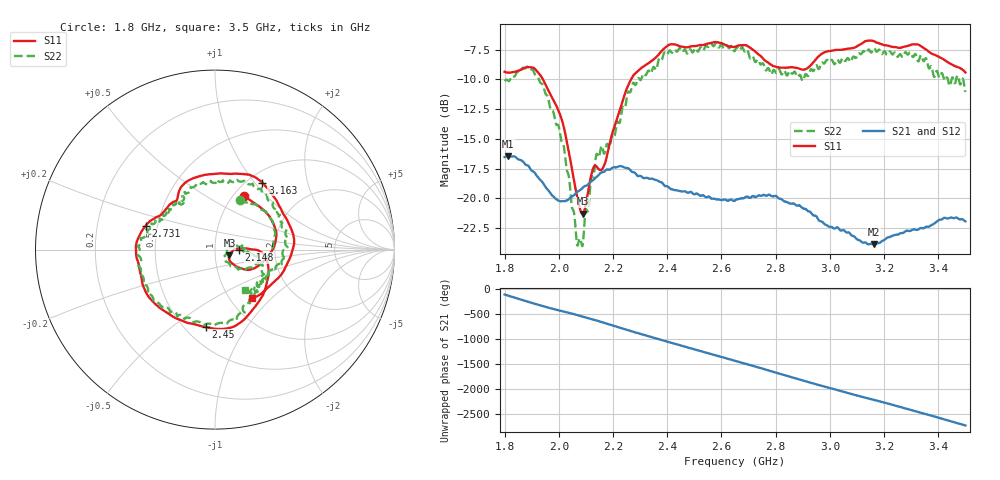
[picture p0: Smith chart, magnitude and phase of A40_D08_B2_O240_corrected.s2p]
! Created with skrf 1.9.0 (http://scikit-rf.org).
# Hz S RI R 50.0
!freq ReS11 ImS11 ReS21 ImS21 ReS12 ImS12 ReS22 ImS22
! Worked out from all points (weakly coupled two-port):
!   1601 points, 1.8 GHz to 3.5 GHz, reference 50 ohm
!   highest |S21| = -16.45 dB at 1.812 GHz (marker M1); lowest = -23.9 dB at 3.161 GHz (marker M2)
!   lowest |S11| = -21.3 dB at 2.088 GHz (marker M3), VSWR 1.19, Z = 58.6 - j3.7 ohm
!   |S11| at or under -10 dB: 1.941 GHz to 2.266 GHz (325.1 MHz wide, 15.5 % of centre)
!   |S22| runs from -24.0 to -7.0 dB; largest |S21 - S12| = 0.0028
!   S11 on the Smith chart (normalised r, x): 1.8 GHz: 1.12, +0.76; 2.148 GHz: 1.30, -0.00; 2.45 GHz: 0.63, -0.67; 2.731 GHz: 0.43, +0.14; 3.163 GHz: 1.16, +1.10; 3.5 GHz: 1.27, -0.76
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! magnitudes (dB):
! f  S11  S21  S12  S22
! 1.8 GHz  -9.4  -16.5  -16.5  -10.1
! 1.812 GHz  -9.4  -16.4  -16.4  -10.1
! 1.886 GHz  -9.0  -17.2  -17.3  -8.9
! 1.941 GHz  -10.0  -18.7  -18.7  -10.5
! 2.011 GHz  -13.4  -20.3  -20.3  -15.3
! 2.066 GHz  -19.6  -19.5  -19.5  -23.6
! 2.084 GHz  -21.2  -19.2  -19.2  -23.8
! 2.088 GHz  -21.3  -19.1  -19.1  -24.0
! 2.126 GHz  -17.5  -18.5  -18.5  -18.2
! 2.148 GHz  -17.6  -18.0  -18.0  -16.5
! 2.19 GHz  -15.2  -17.6  -17.6  -15.5
! 2.265 GHz  -10.0  -17.7  -17.7  -11.0
! 2.367 GHz  -7.9  -18.6  -18.5  -8.4
! 2.45 GHz  -7.2  -19.4  -19.4  -7.5
! 2.65 GHz  -7.3  -20.2  -20.2  -7.6
! 2.731 GHz  -7.8  -19.9  -19.9  -8.4
! 2.934 GHz  -8.7  -21.3  -21.3  -9.2
! 3.161 GHz  -6.8  -23.9  -23.8  -7.4
! 3.163 GHz  -6.8  -23.9  -23.8  -7.4
! 3.217 GHz  -7.2  -23.3  -23.3  -7.7
! 3.326 GHz  -7.1  -22.6  -22.6  -8.5
! 3.5 GHz  -9.4  -21.9  -21.9  -11.1
